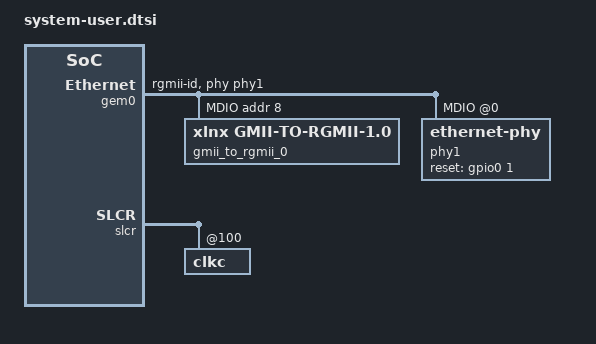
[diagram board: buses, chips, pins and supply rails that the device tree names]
/include/ "system-conf.dtsi"
/ {
    caximem_instance: caximem@0 {
        compatible = "vendor,caximem";
        id = <0>;
        interrupt-parent = <&intc>;
        interrupt-names = "send_signal", "recv_signal";
        interrupts = <0 30 0>, <0 31 0>;
    };
};

&gem0 {
    phy-handle = <&phy1>;
    phy-mode = "rgmii-id";
    gmii2rgmii-phy-handle = <&gmii_to_rgmii_0>;
    ps7_ethernet_0_mdio: mdio {
        #address-cells = <1>;
        #size-cells = <0>;
        gmii_to_rgmii_0: gmii_to_rgmii_0@8 {
            compatible = "xlnx,gmii-to-rgmii-1.0";
            phy-handle = <&phy1>;
            reg = <8>;
        };
        phy1: ethernet-phy@0 {
            device_type = "ethernet-phy";
            interrupt-parent = <&intc>;
            interrupts = <0 29 0>;
            reset-gpios = <&gpio0 1 0>;
            // 地址不指定会去扫描0-31，可能有特殊情况扫描不到，目前不指定的原因是硬件读取的地址不一致
            // reg = <3>;
        };
    };
};

&slcr {
    clkc: clkc@100 {
        clocks = <&clkc 16>;
        clock-names = "gem0_emio_clk";
    };
};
